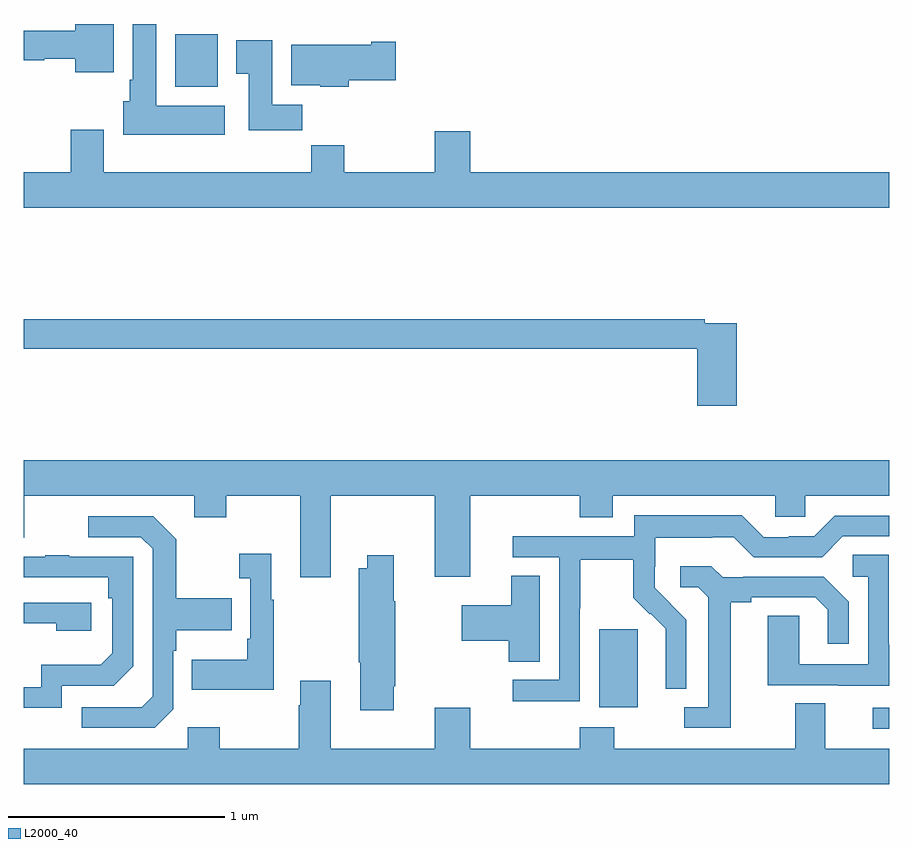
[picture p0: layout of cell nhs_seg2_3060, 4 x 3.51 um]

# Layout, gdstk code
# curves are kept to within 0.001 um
import gdstk
lib = gdstk.Library(unit=1e-6, precision=1e-09)
def R(c, l, rs):  # rectangles x0, y0, x1, y1
    for r in rs: c.add(gdstk.rectangle(r[:2], r[2:], *l))
def P(c, l, *ps):  # polygons
    for p in ps: c.add(gdstk.Polygon(p, *l))
L2000_40 = (2000, 40)

nhs_seg2_3060 = lib.new_cell('nhs_seg2_3060')
R(nhs_seg2_3060, L2000_40, [(274.923,662.544,275,662.64), (273.659,662.642,273.838,663.003), (271.7,665.51,271.897,665.752)])
P(nhs_seg2_3060, L2000_40, [(271.417,665.8),(271.238,665.8),(271.238,665.768),(271,665.768),(271,665.632),(271.095,665.632),(271.095,665.64),(271.238,665.64),(271.238,665.576),(271.417,665.576)],
  [(271.93,665.422),(271.612,665.422),(271.612,665.8),(271.505,665.8),(271.505,665.542),(271.49,665.542),(271.49,665.442),(271.46,665.442),(271.46,665.288),(271.93,665.288)],
  [(272.288,665.428),(272.149,665.428),(272.149,665.725),(271.982,665.725),(271.982,665.569),(272.039,665.569),(272.039,665.31),(272.288,665.31)],
  [(272.501,665.539),(272.719,665.539),(272.719,665.717),(272.606,665.717),(272.606,665.704),(272.237,665.704),(272.237,665.516),(272.37,665.516),(272.37,665.51),(272.501,665.51)],
  [(275,665.116),(273.064,665.116),(273.064,665.305),(272.9,665.305),(272.9,665.116),(272.481,665.116),(272.481,665.24),(272.329,665.24),(272.329,665.116),(271.369,665.116),(271.369,665.311),(271.217,665.311),(271.217,665.116),(271,665.116),(271,664.952),(275,664.952)],
  [(274.295,664.416),(274.148,664.416),(274.148,664.436),(271,664.436),(271,664.3),(274.112,664.3),(274.112,664.035),(274.295,664.035)],
  [(272.419,663.62),(272.9,663.62),(272.9,663.246),(273.064,663.246),(273.064,663.62),(273.569,663.62),(273.569,663.521),(273.721,663.521),(273.721,663.62),(274.473,663.62),(274.473,663.522),(274.611,663.522),(274.611,663.62),(275,663.62),(275,663.784),(271,663.784),(271,663.426),(271.003,663.426),(271.003,663.62),(271.787,663.62),(271.787,663.521),(271.935,663.521),(271.935,663.62),(272.279,663.62),(272.279,663.243),(272.419,663.243)],
  [(273.57,663.1),(273.573,663.1),(273.573,663.324),(273.817,663.324),(273.817,663.149),(273.894,663.072),(273.897,663.075),(273.968,663.005),(273.968,662.882),(273.966,662.882),(273.966,662.728),(274.062,662.728),(274.062,663.046),(273.916,663.194),(273.916,663.291),(273.918,663.291),(273.918,663.425),(274.181,663.425),(274.181,663.429),(274.281,663.429),(274.374,663.336),(274.689,663.336),(274.785,663.432),(275,663.432),(275,663.528),(274.749,663.528),(274.653,663.432),(274.535,663.432),(274.535,663.429),(274.419,663.429),(274.319,663.529),(273.822,663.529),(273.822,663.432),(273.261,663.432),(273.261,663.336),(273.474,663.336),(273.474,662.769),(273.261,662.769),(273.261,662.671),(273.57,662.671)],
  [(271.692,662.634),(271.692,662.903),(271.705,662.903),(271.705,662.999),(271.961,662.999),(271.961,663.147),(271.705,663.147),(271.705,663.419),(271.599,663.525),(271.299,663.525),(271.299,663.429),(271.542,663.429),(271.596,663.375),(271.596,662.694),(271.545,662.643),(271.269,662.643),(271.269,662.547),(271.605,662.547)],
  [(272.155,663.139),(272.143,663.139),(272.143,663.352),(271.995,663.352),(271.995,663.239),(272.046,663.239),(272.046,662.959),(272.034,662.959),(272.034,662.863),(271.777,662.863),(271.777,662.723),(272.155,662.723)],
  [(275,662.931),(274.998,662.931),(274.998,663.347),(274.83,663.347),(274.83,663.246),(274.902,663.246),(274.902,662.841),(274.584,662.841),(274.584,663.065),(274.439,663.065),(274.439,662.745),(274.763,662.745),(274.763,662.741),(275,662.741)],
  [(272.71,662.74),(272.718,662.74),(272.718,663.133),(272.71,663.133),(272.71,663.346),(272.588,663.346),(272.588,663.286),(272.548,663.286),(272.548,662.851),(272.555,662.851),(272.555,662.628),(272.71,662.628)],
  [(271.176,662.742),(271.416,662.742),(271.506,662.832),(271.506,663.339),(271.211,663.339),(271.211,663.344),(271.099,663.344),(271.099,663.339),(271,663.339),(271,663.243),(271.39,663.243),(271.39,663.146),(271.41,663.146),(271.41,662.892),(271.357,662.839),(271.08,662.839),(271.08,662.736),(271,662.736),(271,662.64),(271.176,662.64)],
  [(274.267,663.128),(274.363,663.128),(274.363,663.15),(274.658,663.15),(274.715,663.093),(274.715,662.937),(274.812,662.937),(274.812,663.13),(274.696,663.246),(274.324,663.246),(274.324,663.243),(274.23,663.243),(274.178,663.295),(274.035,663.295),(274.035,663.198),(274.116,663.198),(274.163,663.151),(274.163,662.643),(274.053,662.643),(274.053,662.547),(274.267,662.547)],
  [(273.385,663.251),(273.254,663.251),(273.254,663.115),(273.024,663.115),(273.024,662.95),(273.242,662.95),(273.242,662.854),(273.385,662.854)],
  [(271.312,663.126),(271,663.126),(271,663.03),(271.151,663.03),(271.151,662.996),(271.312,662.996)],
  [(275,662.452),(274.705,662.452),(274.705,662.66),(274.565,662.66),(274.565,662.452),(273.729,662.452),(273.729,662.551),(273.569,662.551),(273.569,662.452),(273.064,662.452),(273.064,662.641),(272.9,662.641),(272.9,662.452),(272.419,662.452),(272.419,662.764),(272.279,662.764),(272.279,662.651),(272.272,662.651),(272.272,662.452),(271.905,662.452),(271.905,662.551),(271.758,662.551),(271.758,662.452),(271,662.452),(271,662.288),(275,662.288)])

lib.write_gds('nhs_seg2_3060.gds')
